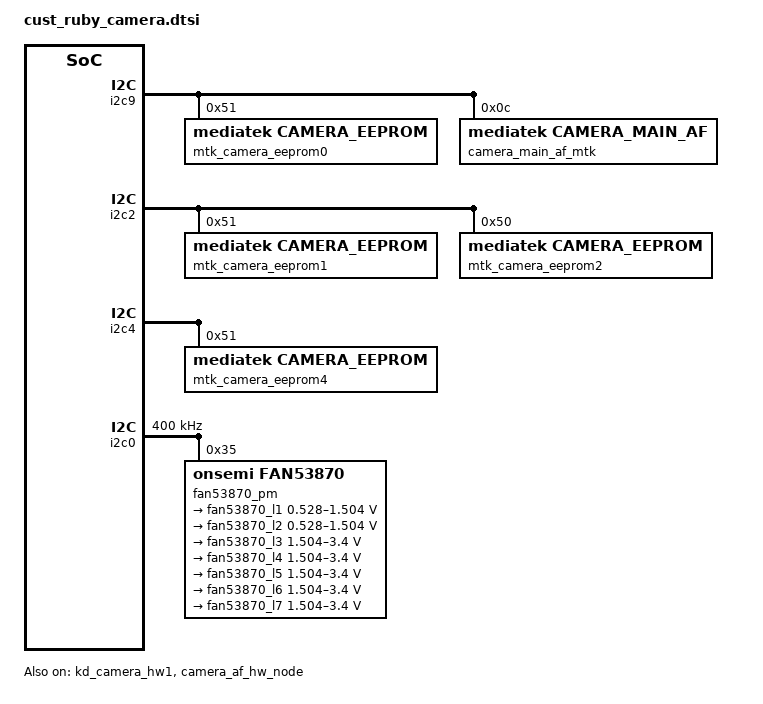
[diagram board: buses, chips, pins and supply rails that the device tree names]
// SPDX-License-Identifier: GPL-2.0
/*
 * Copyright (c) 2021 MediaTek Inc.
 */

/* CAMERA GPIO standardization */
&pio {
	camera_pins_cam0_rst_0: cam0@0 {
		pins_cmd_dat {
			pinmux = <PINMUX_GPIO159__FUNC_GPIO159>;
			slew-rate = <1>;
			output-low;
		};
	};
	camera_pins_cam0_rst_1: cam0@1 {
		pins_cmd_dat {
			pinmux = <PINMUX_GPIO159__FUNC_GPIO159>;
			slew-rate = <1>;
			output-high;
		};
	};
	camera_pins_cam0_pnd_0: cam0@2 {
		pins_cmd_dat {
			pinmux = <PINMUX_GPIO191__FUNC_GPIO191>;
			slew-rate = <1>;
			output-low;
		};
	};
	camera_pins_cam0_pnd_1: cam0@3 {
		pins_cmd_dat {
			pinmux = <PINMUX_GPIO191__FUNC_GPIO191>;
			slew-rate = <1>;
			output-high;
		};
	};
	camera_pins_cam0_vcamd_0: cam0@vcam0 {
		pins_cmd_dat {
			pinmux = <PINMUX_GPIO154__FUNC_GPIO154>;
			slew-rate = <1>;
			output-low;
		};
	};
	camera_pins_cam0_vcamd_1: cam0@vcam1 {
		pins_cmd_dat {
			pinmux = <PINMUX_GPIO154__FUNC_GPIO154>;
			slew-rate = <1>;
			output-high;
		};
	};


	camera_pins_cam1_rst_0: cam1@0 {
		pins_cmd_dat {
			pinmux = <PINMUX_GPIO155__FUNC_GPIO155>;
			slew-rate = <1>;
			output-low;
		};
	};
	camera_pins_cam1_rst_1: cam1@1 {
		pins_cmd_dat {
			pinmux = <PINMUX_GPIO155__FUNC_GPIO155>;
			slew-rate = <1>;
			output-high;
		};
	};

	camera_pins_cam1_pnd_0: cam1@2 {
		pins_cmd_dat {
			pinmux = <PINMUX_GPIO30__FUNC_GPIO30>;
			slew-rate = <1>;
			output-low;
		};
	};
	camera_pins_cam1_pnd_1: cam1@3 {
		pins_cmd_dat {
			pinmux = <PINMUX_GPIO30__FUNC_GPIO30>;
			slew-rate = <1>;
			output-high;
		};
	};

	camera_pins_cam2_rst_0: cam2@0 {
		pins_cmd_dat {
			pinmux = <PINMUX_GPIO30__FUNC_GPIO30>;
			slew-rate = <1>;
			output-low;
		};
	};
	camera_pins_cam2_rst_1: cam2@1 {
		pins_cmd_dat {
			pinmux = <PINMUX_GPIO30__FUNC_GPIO30>;
			slew-rate = <1>;
			output-high;
		};
	};

	camera_pins_cam4_rst_0: cam4@0 {
		pins_cmd_dat {
			pinmux = <PINMUX_GPIO157__FUNC_GPIO157>;
			slew-rate = <1>;
			output-low;
		};
	};
	camera_pins_cam4_rst_1: cam4@1 {
		pins_cmd_dat {
			pinmux = <PINMUX_GPIO157__FUNC_GPIO157>;
			slew-rate = <1>;
			output-high;
		};
	};

	camera_pins_cam1_vcama_0: cam1@vcam0 {
		pins_cmd_dat {
			pinmux = <PINMUX_GPIO169__FUNC_GPIO169>;
			slew-rate = <1>;
			output-low;
		};
	};
	camera_pins_cam1_vcama_1: cam1@vcam1 {
		pins_cmd_dat {
			pinmux = <PINMUX_GPIO169__FUNC_GPIO169>;
			slew-rate = <1>;
			output-high;
		};
	};

	camera_pins_cam2_vcama_0: cam2@vcam0 {
		pins_cmd_dat {
			pinmux = <PINMUX_GPIO169__FUNC_GPIO169>;
			slew-rate = <1>;
			output-low;
		};
	};
	camera_pins_cam2_vcama_1: cam2@vcam1 {
		pins_cmd_dat {
			pinmux = <PINMUX_GPIO169__FUNC_GPIO169>;
			slew-rate = <1>;
			output-high;
		};
	};

	camera_pins_cam2_pnd_0: cam2@2 {
		pins_cmd_dat {
			pinmux = <PINMUX_GPIO158__FUNC_GPIO158>;
			slew-rate = <1>;
			output-low;
		};
	};
	camera_pins_cam2_pnd_1: cam2@3 {
		pins_cmd_dat {
			pinmux = <PINMUX_GPIO158__FUNC_GPIO158>;
			slew-rate = <1>;
			output-high;
		};
	};


	camera_pins_cam0_mclk_off: camera_pins_cam0_mclk_off {
		pins_cmd_dat {
			pinmux = <PINMUX_GPIO151__FUNC_GPIO151>;
			drive-strength = <1>;
		};
	};
	camera_pins_cam0_mclk_2ma: camera_pins_cam0_mclk_2ma {
		pins_cmd_dat {
			pinmux = <PINMUX_GPIO151__FUNC_CMMCLK2>;
			drive-strength = <0>;
		};
	};
	camera_pins_cam0_mclk_4ma: camera_pins_cam0_mclk_4ma {
		pins_cmd_dat {
			pinmux = <PINMUX_GPIO151__FUNC_CMMCLK2>;
			drive-strength = <1>;
		};
	};
	camera_pins_cam0_mclk_6ma: camera_pins_cam0_mclk_6ma {
		pins_cmd_dat {
			pinmux = <PINMUX_GPIO151__FUNC_CMMCLK2>;
			drive-strength = <2>;
		};
	};
	camera_pins_cam0_mclk_8ma: camera_pins_cam0_mclk_8ma {
		pins_cmd_dat {
			pinmux = <PINMUX_GPIO151__FUNC_CMMCLK2>;
			drive-strength = <3>;
		};
	};
	camera_pins_cam1_mclk_off: camera_pins_cam1_mclk_off {
		pins_cmd_dat {
			pinmux = <PINMUX_GPIO149__FUNC_GPIO149>;
			drive-strength = <1>;
		};
	};
	camera_pins_cam1_mclk_2ma: camera_pins_cam1_mclk_2ma {
		pins_cmd_dat {
			pinmux = <PINMUX_GPIO149__FUNC_CMMCLK0>;
			drive-strength = <0>;
		};
	};
	camera_pins_cam1_mclk_4ma: camera_pins_cam1_mclk_4ma {
		pins_cmd_dat {
			pinmux = <PINMUX_GPIO149__FUNC_CMMCLK0>;
			drive-strength = <1>;
		};
	};
	camera_pins_cam1_mclk_6ma: camera_pins_cam1_mclk_6ma {
		pins_cmd_dat {
			pinmux = <PINMUX_GPIO149__FUNC_CMMCLK0>;
			drive-strength = <2>;
		};
	};
	camera_pins_cam1_mclk_8ma: camera_pins_cam1_mclk_8ma {
		pins_cmd_dat {
			pinmux = <PINMUX_GPIO149__FUNC_CMMCLK0>;
			drive-strength = <3>;
		};
	};
	camera_pins_cam2_mclk_off: camera_pins_cam2_mclk_off {
		pins_cmd_dat {
			pinmux = <PINMUX_GPIO152__FUNC_GPIO152>;
			drive-strength = <1>;
		};
	};
	camera_pins_cam2_mclk_2ma: camera_pins_cam2_mclk_2ma {
		pins_cmd_dat {
			pinmux = <PINMUX_GPIO152__FUNC_CMMCLK3>;
			drive-strength = <0>;
		};
	};
	camera_pins_cam2_mclk_4ma: camera_pins_cam2_mclk_4ma {
		pins_cmd_dat {
			pinmux = <PINMUX_GPIO152__FUNC_CMMCLK3>;
			drive-strength = <1>;
		};
	};
	camera_pins_cam2_mclk_6ma: camera_pins_cam2_mclk_6ma {
		pins_cmd_dat {
			pinmux = <PINMUX_GPIO152__FUNC_CMMCLK3>;
			drive-strength = <2>;
		};
	};
	camera_pins_cam2_mclk_8ma: camera_pins_cam2_mclk_8ma {
		pins_cmd_dat {
			pinmux = <PINMUX_GPIO152__FUNC_CMMCLK3>;
			drive-strength = <3>;
		};
	};
	camera_pins_cam4_mclk_off: camera_pins_cam4_mclk_off {
		pins_cmd_dat {
			pinmux = <PINMUX_GPIO150__FUNC_GPIO150>;
			drive-strength = <1>;
		};
	};
	camera_pins_cam4_mclk_2ma: camera_pins_cam4_mclk_2ma {
		pins_cmd_dat {
			pinmux = <PINMUX_GPIO150__FUNC_CMMCLK1>;
			drive-strength = <0>;
		};
	};
	camera_pins_cam4_mclk_4ma: camera_pins_cam4_mclk_4ma {
		pins_cmd_dat {
			pinmux = <PINMUX_GPIO150__FUNC_CMMCLK1>;
			drive-strength = <1>;
		};
	};
	camera_pins_cam4_mclk_6ma: camera_pins_cam4_mclk_6ma {
		pins_cmd_dat {
			pinmux = <PINMUX_GPIO150__FUNC_CMMCLK1>;
			drive-strength = <2>;
		};
	};
	camera_pins_cam4_mclk_8ma: camera_pins_cam4_mclk_8ma {
		pins_cmd_dat {
			pinmux = <PINMUX_GPIO150__FUNC_CMMCLK1>;
			drive-strength = <3>;
		};
	};
	camera_pins_default: camdefault {
	};
};
&kd_camera_hw1 {
	pinctrl-names = "default",
			"cam0_rst0", "cam0_rst1",
			"cam0_pnd0", "cam0_pnd1",
			"cam0_ldo_vcamd_0", "cam0_ldo_vcamd_1",

			"cam1_rst0", "cam1_rst1",
			"cam1_ldo_vcama_0", "cam1_ldo_vcama_1",

			"cam2_rst0", "cam2_rst1",
			"cam2_ldo_vcama_0", "cam2_ldo_vcama_1",

			"cam4_rst0", "cam4_rst1",

			"cam0_mclk_off",
			"cam0_mclk_2mA", "cam0_mclk_4mA",
			"cam0_mclk_6mA", "cam0_mclk_8mA",
			"cam1_mclk_off",
			"cam1_mclk_2mA", "cam1_mclk_4mA",
			"cam1_mclk_6mA", "cam1_mclk_8mA",
			"cam2_mclk_off",
			"cam2_mclk_2mA", "cam2_mclk_4mA",
			"cam2_mclk_6mA", "cam2_mclk_8mA",
			"cam4_mclk_off",
			"cam4_mclk_2mA", "cam4_mclk_4mA",
			"cam4_mclk_6mA", "cam4_mclk_8mA",

			"cam2_pnd0", "cam2_pnd1",
			"cam1_pnd0", "cam1_pnd1";

	pinctrl-0 = <&camera_pins_default>;

	pinctrl-1 = <&camera_pins_cam0_rst_0>;
	pinctrl-2 = <&camera_pins_cam0_rst_1>;
	pinctrl-3 = <&camera_pins_cam0_pnd_0>;
	pinctrl-4 = <&camera_pins_cam0_pnd_1>;
	pinctrl-5 = <&camera_pins_cam0_vcamd_0>;
	pinctrl-6 = <&camera_pins_cam0_vcamd_1>;

	pinctrl-7 = <&camera_pins_cam1_rst_0>;
	pinctrl-8 = <&camera_pins_cam1_rst_1>;
	pinctrl-9 = <&camera_pins_cam1_vcama_0>;
	pinctrl-10 = <&camera_pins_cam1_vcama_1>;

	pinctrl-11 = <&camera_pins_cam2_rst_0>;
	pinctrl-12 = <&camera_pins_cam2_rst_1>;
	pinctrl-13 = <&camera_pins_cam2_vcama_0>;
	pinctrl-14 = <&camera_pins_cam2_vcama_1>;

	pinctrl-15 = <&camera_pins_cam4_rst_0>;
	pinctrl-16 = <&camera_pins_cam4_rst_1>;

	pinctrl-17 = <&camera_pins_cam0_mclk_off>;
	pinctrl-18 = <&camera_pins_cam0_mclk_2ma>;
	pinctrl-19 = <&camera_pins_cam0_mclk_4ma>;
	pinctrl-20 = <&camera_pins_cam0_mclk_6ma>;
	pinctrl-21 = <&camera_pins_cam0_mclk_8ma>;

	pinctrl-22 = <&camera_pins_cam1_mclk_off>;
	pinctrl-23 = <&camera_pins_cam1_mclk_2ma>;
	pinctrl-24 = <&camera_pins_cam1_mclk_4ma>;
	pinctrl-25 = <&camera_pins_cam1_mclk_6ma>;
	pinctrl-26 = <&camera_pins_cam1_mclk_8ma>;

	pinctrl-27 = <&camera_pins_cam2_mclk_off>;
	pinctrl-28 = <&camera_pins_cam2_mclk_2ma>;
	pinctrl-29 = <&camera_pins_cam2_mclk_4ma>;
	pinctrl-30 = <&camera_pins_cam2_mclk_6ma>;
	pinctrl-31 = <&camera_pins_cam2_mclk_8ma>;

	pinctrl-32 = <&camera_pins_cam4_mclk_off>;
	pinctrl-33 = <&camera_pins_cam4_mclk_2ma>;
	pinctrl-34 = <&camera_pins_cam4_mclk_4ma>;
	pinctrl-35 = <&camera_pins_cam4_mclk_6ma>;
	pinctrl-36 = <&camera_pins_cam4_mclk_8ma>;

	pinctrl-37 = <&camera_pins_cam2_pnd_0>;
	pinctrl-38 = <&camera_pins_cam2_pnd_1>;
	pinctrl-39 = <&camera_pins_cam1_pnd_0>;
	pinctrl-40 = <&camera_pins_cam1_pnd_1>;
	/* main */

	cam0_vcama-supply = <&fan53870_l3>;
	cam0_vcama1-supply = <&fan53870_l7>;
	cam0_vcamio-supply = <&mt_pmic_vcamio_ldo_reg>;
	cam0_pin_mclk = "mclk";
	cam0_pin_rst = "gpio";
	cam0_pin_pnd = "gpio";
	cam0_pin_vcama = "regulator";
	cam0_pin_vcama1 = "regulator";
	cam0_pin_vcamio = "regulator";
	cam0_pin_vcamd = "gpio";

	cam1_vcamd-supply = <&fan53870_l2>;
	cam1_vcamio-supply = <&mt_pmic_vcamio_ldo_reg>;
	cam1_pin_mclk = "mclk";
	cam1_pin_pnd = "gpio";
	cam1_pin_rst = "gpio";
	cam1_pin_vcama = "gpio";
	cam1_pin_vcamio = "regulator";
	cam1_pin_vcamd = "regulator";

	cam2_vcamd-supply = <&fan53870_l1>;
	cam2_vcamio-supply = <&mt_pmic_vcamio_ldo_reg>;
	cam2_pin_mclk = "mclk";
	cam2_pin_rst = "gpio";
	cam2_pin_pnd = "gpio";
	cam2_pin_vcama = "gpio";
	cam2_pin_vcamio = "regulator";
	cam2_pin_vcamd = "regulator";

	cam4_vcama-supply = <&fan53870_l4>;
	cam4_vcamio-supply = <&fan53870_l5>;
	cam4_pin_mclk = "mclk";
	cam4_pin_rst = "gpio";
	cam4_pin_vcama = "regulator";
	cam4_pin_vcamio = "regulator";

	cam0_enable_sensor = "s5khpxsemco_mipi_raw imx766sunny_mipi_raw imx766ofilm_mipi_raw";
	cam1_enable_sensor = "ov16a1qsunny_mipi_raw ov16a1qofilm_mipi_raw";
	cam2_enable_sensor = "s5k4h7sunny_mipi_raw s5k4h7ofilm_mipi_raw";
	cam3_enable_sensor = "";
	cam4_enable_sensor = "ov02b10aac_mipi_raw ov02b10sunny_mipi_raw";

	status = "okay";
};
/* CAMERA GPIO end */

/* CAMERA EEPROM */
&i2c9 {
	mtk_camera_eeprom0:camera_eeprom0@51 {
		compatible = "mediatek,camera_eeprom";
		reg = <0x51>;
		status = "okay";
	};
};
&i2c2 {
	mtk_camera_eeprom1:camera_eeprom1@51 {
		compatible = "mediatek,camera_eeprom";
		reg = <0x51>;
		status = "okay";
	};
	mtk_camera_eeprom2:camera_eeprom2@50 {
		compatible = "mediatek,camera_eeprom";
		reg = <0x50>;
		status = "okay";
	};
};
&i2c4 {
	mtk_camera_eeprom4:camera_eeprom4@51 {
		compatible = "mediatek,camera_eeprom";
		reg = <0x51>;
		status = "okay";
	};
};
/* CAMERA EEPROM end */

/* FAN53870 start */
&i2c0 {
	status = "okay";
	clock-frequency = <400000>;

	fan53870_pm:onsemi,ldo@35 {
		compatible = "onsemi,fan53870";
		reg = <0x35>;/*slave address*/
		index = <0>;

		fan53870_l1:on,fan53870@0{
			offset = /bits/ 16 <0x0000>;
			regulator-name ="fan53870-l1";
			regulator-min-microvolt = <528000>;
			regulator-max-microvolt = <1504000>;
			min-dropout-voltage = <225000>;
			init-voltage = <1150000>;
			iout_ua = <650000>;
		};

		fan53870_l2:on,fan53870@1{
			offset = /bits/ 16 <0x0001>;
			regulator-name ="fan53870-l2";
			regulator-min-microvolt = <528000>;
			regulator-max-microvolt = <1504000>;
			min-dropout-voltage = <225000>;
			init-voltage = <1200000>;
			iout_ua = <650000>;
		};

		fan53870_l3:on,fan53870@2{
			offset = /bits/ 16 <0x0002>;
			regulator-name ="fan53870-l3";
			regulator-min-microvolt = <1504000>;
			regulator-max-microvolt = <3400000>;
			min-dropout-voltage = <200000>;
			init-voltage = <2800000>;
			iout_ua = <650000>;
		};

		fan53870_l4:on,fan53870@3{
			offset = /bits/ 16 <0x0003>;
			regulator-name ="fan53870-l4";
			regulator-min-microvolt = <1504000>;
			regulator-max-microvolt = <3400000>;
			min-dropout-voltage = <200000>;
			init-voltage = <2800000>;
			iout_ua = <650000>;
		};

		fan53870_l5:on,fan53870@4{
			offset = /bits/ 16 <0x0004>;
			regulator-name ="fan53870-l5";
			regulator-min-microvolt = <1504000>;
			regulator-max-microvolt = <3400000>;
			min-dropout-voltage = <300000>;
			init-voltage = <2800000>;
			iout_ua = <650000>;
		};

		fan53870_l6:on,fan53870@5{
			offset = /bits/ 16 <0x0005>;
			regulator-name ="fan53870-l6";
			regulator-min-microvolt = <1504000>;
			regulator-max-microvolt = <3400000>;
			min-dropout-voltage = <300000>;
			init-voltage = <3100000>;
			iout_ua = <650000>;
		};

		fan53870_l7:on,fan53870@6{
			offset = /bits/ 16 <0x0006>;
			regulator-name ="fan53870-l7";
			regulator-min-microvolt = <1504000>;
			regulator-max-microvolt = <3400000>;
			min-dropout-voltage = <300000>;
			init-voltage = <2800000>;
			iout_ua = <650000>;
		};
	};
};
/* FAN53870 end */

/* CAMERA AF */
&camera_af_hw_node {
	camaf_m1_pmic-supply = <&fan53870_l6>;
	status = "okay";
};

&i2c9 {
	camera_main_af_mtk:camera_main_af@0c {
		compatible = "mediatek,camera_main_af";
		reg = <0x0c>;
		status = "okay";
	};
};
/* CAMERA AF end */

&mmc0 {
	status = "disabled";
};

&mmc1 {
	status = "disabled";
};
